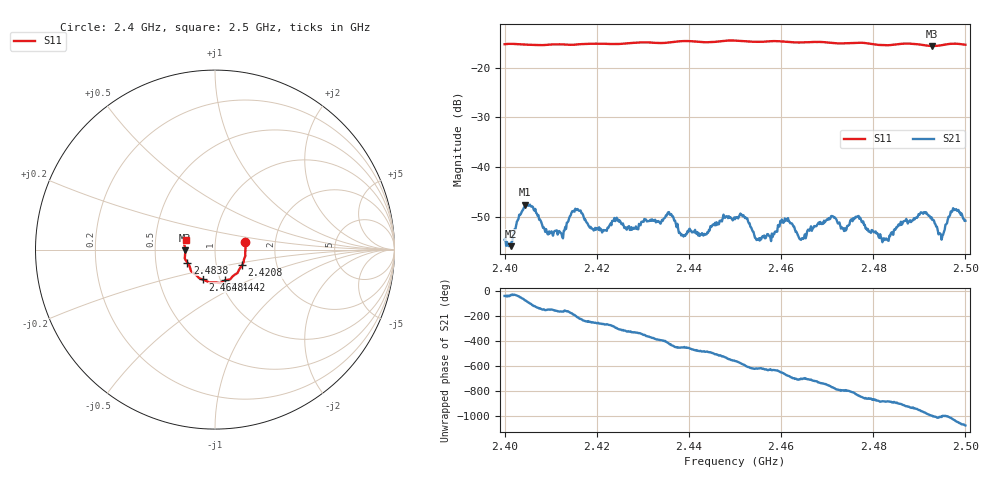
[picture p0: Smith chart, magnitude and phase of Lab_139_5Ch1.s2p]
# Hz S RI R 50
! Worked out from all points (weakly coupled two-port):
!   601 points, 2.4 GHz to 2.5 GHz, reference 50 ohm
!   highest |S21| = -47.54 dB at 2.4045 GHz (marker M1); lowest = -55.9 dB at 2.4013 GHz (marker M2)
!   lowest |S11| = -15.6 dB at 2.4928 GHz (marker M3), VSWR 1.40, Z = 35.8 - j0.366 ohm
!   |S11| at or under -10 dB: start of sweep to end of sweep
!   S12 and S22 are empty: the file has one direction only
!   S11 on the Smith chart (normalised r, x): 2.4 GHz: 1.40, +0.12; 2.4208 GHz: 1.33, -0.24; 2.4442 GHz: 1.05, -0.37; 2.4648 GHz: 0.83, -0.28; 2.4838 GHz: 0.73, -0.11; 2.5 GHz: 0.72, +0.08
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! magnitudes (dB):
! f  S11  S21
! 2.4 GHz  -15.3  -54.6
! 2.4013 GHz  -15.2  -55.9
! 2.4045 GHz  -15.3  -47.5
! 2.41 GHz  -15.3  -53.1
! 2.4167 GHz  -15.2  -49.2
! 2.4208 GHz  -15.2  -52.4
! 2.4333 GHz  -15.0  -50.9
! 2.4442 GHz  -14.9  -53.2
! 2.45 GHz  -14.5  -50.5
! 2.4522 GHz  -14.7  -50.2
! 2.4548 GHz  -14.8  -54.5
! 2.4613 GHz  -14.8  -50.8
! 2.4648 GHz  -14.9  -54.5
! 2.4667 GHz  -14.8  -52.8
! 2.4767 GHz  -15.0  -49.9
! 2.4833 GHz  -15.5  -54.8
! 2.4838 GHz  -15.4  -53.3
! 2.4907 GHz  -15.4  -49.2
! 2.4928 GHz  -15.6  -50.6
! 2.4947 GHz  -15.5  -53.5
! 2.4973 GHz  -15.1  -48.3
! 2.5 GHz  -15.3  -50.8
